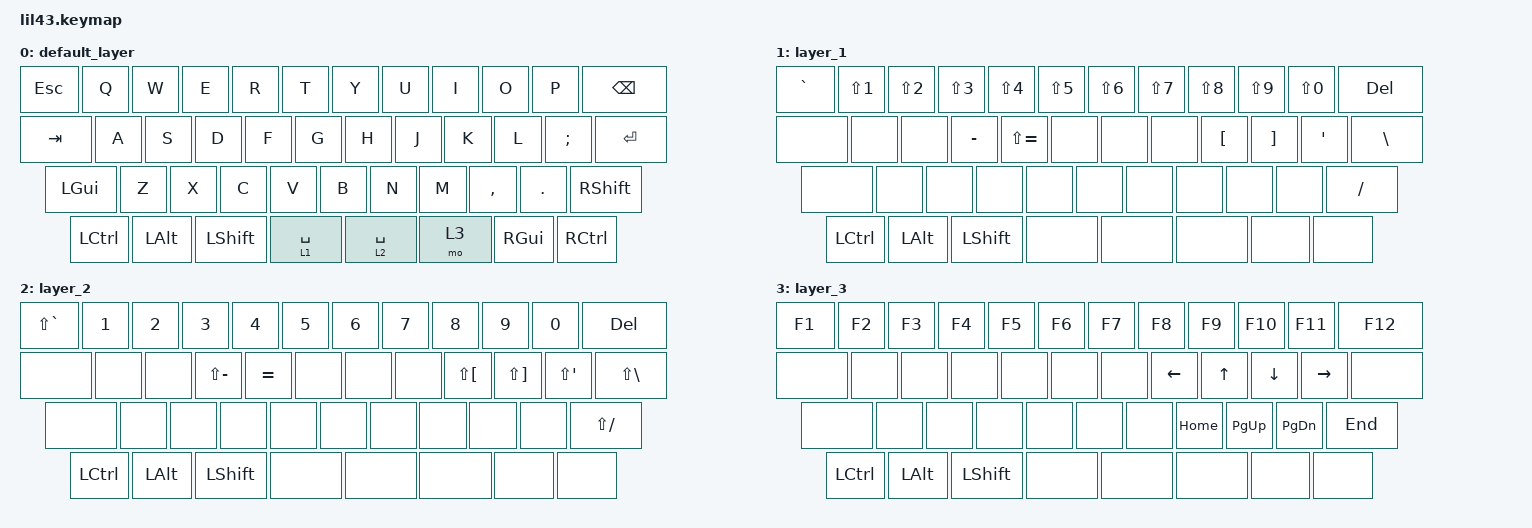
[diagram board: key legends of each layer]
#include <behaviors.dtsi>
#include <dt-bindings/zmk/keys.h>
#include <dt-bindings/zmk/bt.h>

/ {

        macros {
            lang: lang {
                compatible = "zmk,behavior-macro";
                #binding-cells = <0>;
                bindings
                    = <&macro_press &kp LSHFT>
                    , <&macro_tap &kp LALT>
                    , <&macro_release &kp LSHFT>
                    ;
            };
        };

        combos {
        compatible = "zmk,combos";
            combo_boot {
                timeout-ms = <100>;
                key-positions = <15 21 29>;
                bindings = <&bootloader>;
            };

            combo_unlock {
                timeout-ms = <100>;
                key-positions = <7 20 21>;
                bindings = <&studio_unlock>;
            };


            combo_lang {
                timeout-ms = <100>;
                key-positions = <24 37>;
                bindings = <&lang>;
            };
        };

    keymap {
        compatible = "zmk,keymap";

        default_layer {
            bindings = <
                &kp ESC     &kp Q       &kp W       &kp E       &kp R       &kp T       &kp Y       &kp U       &kp I       &kp O       &kp P       &kp BACKSPACE
                &kp TAB     &kp A       &kp S       &kp D       &kp F       &kp G       &kp H       &kp J       &kp K       &kp L       &kp SEMI    &kp RET
                            &kp LGUI    &kp Z       &kp X       &kp C       &kp V       &kp B       &kp N       &kp M       &kp COMMA   &kp DOT     &kp RSHFT
                            &kp LCTRL   &kp LALT    &kp LSHIFT  &lt 1 SPACE &lt 2 SPACE &mo 3       &kp RGUI    &kp RCTRL
            >;
        };

        layer_1 {
            bindings = <
                &kp GRAVE   &kp LS(N1)  &kp LS(N2)  &kp LS(N3)  &kp LS(N4)  &kp LS(N5)  &kp LS(N6)  &kp LS(N7)  &kp LS(N8)  &kp LS(N9)  &kp LS(N0)  &kp DEL
                &none       &none       &none       &kp MINUS   &kp LS(EQUAL) &none     &none       &none       &kp LBKT    &kp RBKT    &kp SQT     &kp BACKSLASH
                            &none       &none       &none       &none       &none       &none       &none       &none       &none       &none       &kp SLASH         
                            &kp LCTRL   &kp LALT    &kp LSHIFT  &none       &none       &none       &none       &none       
            >;
        };

        layer_2 {
            bindings = <
                &kp LS(GRAVE) &kp N1    &kp N2      &kp N3      &kp N4      &kp N5      &kp N6      &kp N7      &kp N8      &kp N9      &kp N0      &kp DEL
                &none       &none       &none       &kp LS(MINUS) &kp EQUAL &none       &none       &none       &kp LS(LBKT) &kp LS(RBKT) &kp LS(SQT) &kp LS(BACKSLASH)
                            &none       &none       &none       &none       &none       &none       &none       &none       &none       &none       &kp LS(SLASH)         
                            &kp LCTRL   &kp LALT    &kp LSHIFT  &none       &none       &none       &none       &none               
            >;
        };

        layer_3 {
            bindings = <
                &kp F1      &kp F2      &kp F3      &kp F4      &kp F5      &kp F6      &kp F7      &kp F8      &kp F9      &kp F10     &kp F11     &kp F12
                &none       &none       &none       &none       &none       &none       &none       &kp LEFT    &kp UP      &kp DOWN    &kp RIGHT   &none
                            &none       &none       &none       &none       &none       &none       &none       &kp HOME    &kp PG_UP   &kp PG_DN   &kp END          
                            &kp LCTRL   &kp LALT    &kp LSHIFT  &none       &none       &none       &none       &none                        
            >;
        };

        extra_1{
            status = "reserved";
        };

        extra_2{
            status = "reserved";
        };

        extra_3{
            status = "reserved";
        };

        extra_4{
            status = "reserved";
        };

        extra_5{
            status = "reserved";
        };

    };
 };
